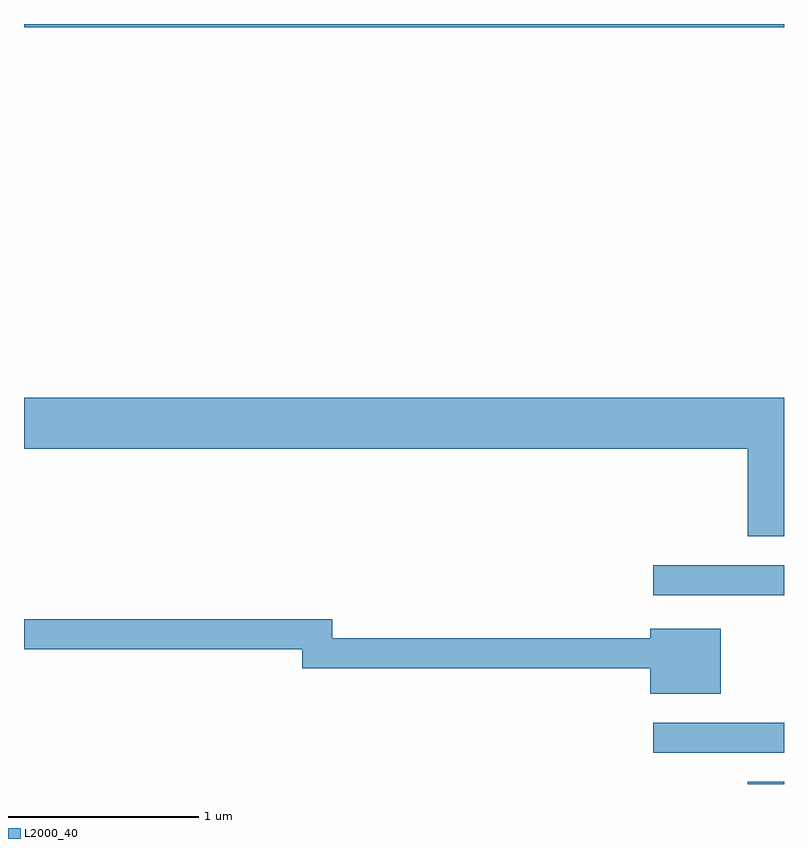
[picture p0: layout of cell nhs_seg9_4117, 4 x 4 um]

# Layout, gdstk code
import gdstk
lib = gdstk.Library(unit=1e-6, precision=1e-09)
def R(c, l, rs):  # rectangles x0, y0, x1, y1
    for r in rs: c.add(gdstk.rectangle(r[:2], r[2:], *l))
def P(c, l, *ps):  # polygons
    for p in ps: c.add(gdstk.Polygon(p, *l))
L2000_40 = (2000, 40)

nhs_seg9_4117 = lib.new_cell('nhs_seg9_4117')
R(nhs_seg9_4117, L2000_40, [(309.421,2054.432,309.611,2054.444), (308.923,2054.596,309.611,2054.754), (308.923,2055.426,309.611,2055.584), (305.611,2058.416,309.611,2058.432)])
P(nhs_seg9_4117, L2000_40, [(309.611,2056.464),(305.611,2056.464),(305.611,2056.196),(309.421,2056.196),(309.421,2055.736),(309.611,2055.736)],
  [(309.279,2055.249),(308.906,2055.249),(308.906,2055.199),(307.234,2055.199),(307.234,2055.299),(305.611,2055.299),(305.611,2055.141),(307.076,2055.141),(307.076,2055.041),(308.906,2055.041),(308.906,2054.906),(309.279,2054.906)])

lib.write_gds('nhs_seg9_4117.gds')
